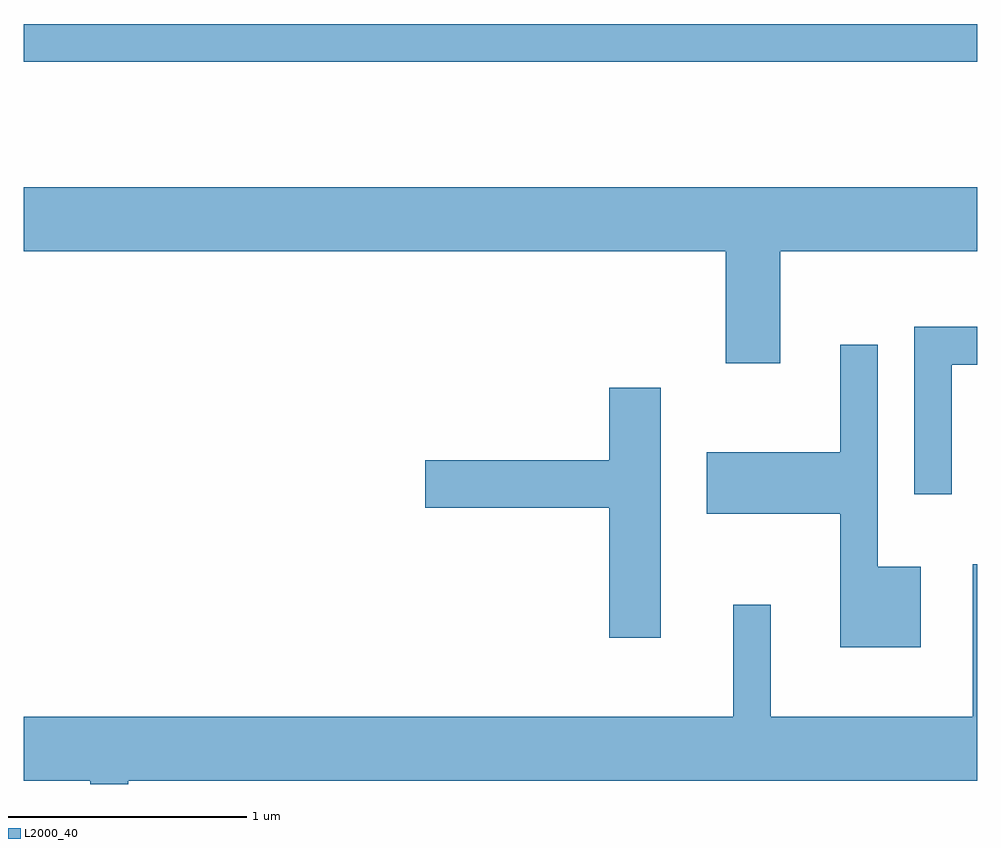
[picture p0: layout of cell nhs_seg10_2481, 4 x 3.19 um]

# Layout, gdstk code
import gdstk
lib = gdstk.Library(unit=1e-6, precision=1e-09)
def R(c, l, rs):  # rectangles x0, y0, x1, y1
    for r in rs: c.add(gdstk.rectangle(r[:2], r[2:], *l))
def P(c, l, *ps):  # polygons
    for p in ps: c.add(gdstk.Polygon(p, *l))
L2000_40 = (2000, 40)

nhs_seg10_2481 = lib.new_cell('nhs_seg10_2481')
R(nhs_seg10_2481, L2000_40, [(257.611,2163.551,261.611,2163.709)])
P(nhs_seg10_2481, L2000_40, [(260.784,2162.756),(261.611,2162.756),(261.611,2163.024),(257.611,2163.024),(257.611,2162.756),(260.556,2162.756),(260.556,2162.286),(260.784,2162.286)],
  [(261.504,2162.281),(261.611,2162.281),(261.611,2162.439),(261.346,2162.439),(261.346,2161.738),(261.504,2161.738)],
  [(261.374,2161.434),(261.194,2161.434),(261.194,2162.363),(261.036,2162.363),(261.036,2161.914),(260.476,2161.914),(260.476,2161.656),(261.036,2161.656),(261.036,2161.096),(261.374,2161.096)],
  [(260.284,2162.184),(260.066,2162.184),(260.066,2161.879),(259.296,2161.879),(259.296,2161.681),(260.066,2161.681),(260.066,2161.136),(260.284,2161.136)],
  [(258.049,2160.536),(261.611,2160.536),(261.611,2161.443),(261.591,2161.443),(261.591,2160.804),(260.744,2160.804),(260.744,2161.273),(260.586,2161.273),(260.586,2160.804),(257.611,2160.804),(257.611,2160.536),(257.891,2160.536),(257.891,2160.522),(258.049,2160.522)])

lib.write_gds('nhs_seg10_2481.gds')
